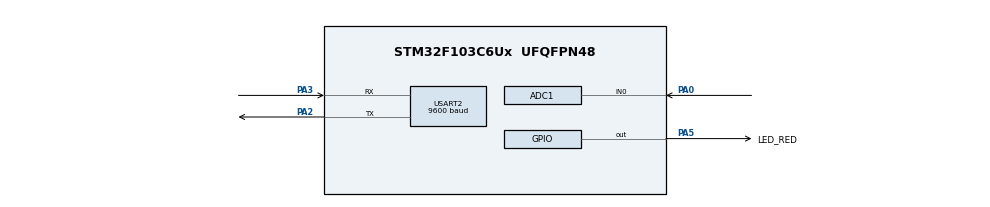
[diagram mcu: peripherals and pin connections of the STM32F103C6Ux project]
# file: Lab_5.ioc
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ADC1.Channel-0\#ChannelRegularConversion=ADC_CHANNEL_0
ADC1.ContinuousConvMode=ENABLE
ADC1.NbrOfConversionFlag=1
ADC1.Rank-0\#ChannelRegularConversion=1
ADC1.SamplingTime-0\#ChannelRegularConversion=ADC_SAMPLETIME_1CYCLE_5
ADC1.master=1
Mcu.Family=STM32F1
Mcu.Name=STM32F103C6Ux
Mcu.Package=UFQFPN48
NVIC.PriorityGroup=NVIC_PRIORITYGROUP_4
NVIC.TIM2_IRQn=true\:0\:0\:false\:false\:true\:true\:true
NVIC.USART2_IRQn=true\:0\:0\:false\:false\:true\:true\:true
PA0-WKUP.Signal=ADCx_IN0
PA2.Mode=Asynchronous
PA2.Signal=USART2_TX
PA3.Mode=Asynchronous
PA3.Signal=USART2_RX
PA5.GPIO_Label=LED_RED
PA5.Signal=GPIO_Output
ProjectManager.HeapSize=0x200
ProjectManager.StackSize=0x400
ProjectManager.TargetToolchain=STM32CubeIDE
RCC.APB1Freq_Value=8000000
RCC.APB2Freq_Value=8000000
SH.ADCx_IN0.0=ADC1_IN0,IN0
TIM2.Period=9
TIM2.Prescaler=7999
USART2.BaudRate=9600
USART2.VirtualMode=VM_ASYNC
VP_SYS_VS_ND.Mode=No_Debug
VP_TIM2_VS_ClockSourceINT.Mode=Internal
board=custom

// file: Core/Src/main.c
/* USER CODE BEGIN Header */
/**
  ******************************************************************************
  * @file           : main.c
  * @brief          : Main program body
  ******************************************************************************
  * @attention
  *
  * <h2><center>&copy; Copyright (c) 2022 STMicroelectronics.
  * All rights reserved.</center></h2>
  *
  * This software component is licensed by ST under BSD 3-Clause license,
  * the "License"; You may not use this file except in compliance with the
  * License. You may obtain a copy of the License at:
  *                        opensource.org/licenses/BSD-3-Clause
  *
  ******************************************************************************
  */
/* USER CODE END Header */
#include "main.h"
#include "stdint.h"
#include "stdio.h"

ADC_HandleTypeDef hadc1;

TIM_HandleTypeDef htim2;

UART_HandleTypeDef huart2;

void SystemClock_Config(void);
static void MX_GPIO_Init(void);
static void MX_ADC1_Init(void);
static void MX_TIM2_Init(void);
static void MX_USART2_UART_Init(void);

/* USER CODE BEGIN 0 */
#define MAX_BUFFER_SIZE  30
uint8_t temp = 0;
uint8_t buffer[MAX_BUFFER_SIZE];
uint8_t index_buffer = 0;
uint8_t buffer_flag = 0;

void HAL_UART_RxCpltCallback(UART_HandleTypeDef *huart) {
	if(huart->Instance == USART2){
		HAL_UART_Transmit(&huart2, &temp, 1, 50);
		HAL_UART_Receive_IT(&huart2, &temp, 1);
	}
}
/* USER CODE END 0 */

int main(void)
{

  /* MCU Configuration--------------------------------------------------------*/

  /* Reset of all peripherals, Initializes the Flash interface and the Systick. */
  HAL_Init();

  /* Configure the system clock */
  SystemClock_Config();

  /* Initialize all configured peripherals */
  MX_GPIO_Init();
  MX_ADC1_Init();
  MX_TIM2_Init();
  MX_USART2_UART_Init();
  /* USER CODE BEGIN 2 */
  HAL_TIM_Base_Start_IT(&htim2);
  HAL_UART_Receive_IT(&huart2, &temp, 1);
  /* USER CODE END 2 */

  /* Infinite loop */
  /* USER CODE BEGIN WHILE */
  uint32_t ADC_value = 0;
  char str[50];
  while (1)
  {
	  HAL_GPIO_TogglePin(LED_RED_GPIO_Port, LED_RED_Pin);
	  ADC_value = HAL_ADC_GetValue(&hadc1);
	  HAL_UART_Transmit(&huart2, (void *)str, sprintf(str, "%ld\n", ADC_value), 1000);
	  HAL_Delay(500);
    /* USER CODE END WHILE */

  }
}

void SystemClock_Config(void)
{
  RCC_OscInitTypeDef RCC_OscInitStruct = {0};
  RCC_ClkInitTypeDef RCC_ClkInitStruct = {0};
  RCC_PeriphCLKInitTypeDef PeriphClkInit = {0};

  /** Initializes the RCC Oscillators according to the specified parameters
  * in the RCC_OscInitTypeDef structure.
  */
  RCC_OscInitStruct.OscillatorType = RCC_OSCILLATORTYPE_HSI;
  RCC_OscInitStruct.HSIState = RCC_HSI_ON;
  RCC_OscInitStruct.HSICalibrationValue = RCC_HSICALIBRATION_DEFAULT;
  RCC_OscInitStruct.PLL.PLLState = RCC_PLL_NONE;
  if (HAL_RCC_OscConfig(&RCC_OscInitStruct) != HAL_OK)
  {
    Error_Handler();
  }
  /** Initializes the CPU, AHB and APB buses clocks
  */
  RCC_ClkInitStruct.ClockType = RCC_CLOCKTYPE_HCLK|RCC_CLOCKTYPE_SYSCLK
                              |RCC_CLOCKTYPE_PCLK1|RCC_CLOCKTYPE_PCLK2;
  RCC_ClkInitStruct.SYSCLKSource = RCC_SYSCLKSOURCE_HSI;
  RCC_ClkInitStruct.AHBCLKDivider = RCC_SYSCLK_DIV1;
  RCC_ClkInitStruct.APB1CLKDivider = RCC_HCLK_DIV1;
  RCC_ClkInitStruct.APB2CLKDivider = RCC_HCLK_DIV1;

  if (HAL_RCC_ClockConfig(&RCC_ClkInitStruct, FLASH_LATENCY_0) != HAL_OK)
  {
    Error_Handler();
  }
  PeriphClkInit.PeriphClockSelection = RCC_PERIPHCLK_ADC;
  PeriphClkInit.AdcClockSelection = RCC_ADCPCLK2_DIV2;
  if (HAL_RCCEx_PeriphCLKConfig(&PeriphClkInit) != HAL_OK)
  {
    Error_Handler();
  }
}

static void MX_ADC1_Init(void)
{

  ADC_ChannelConfTypeDef sConfig = {0};

  /** Common config
  */
  hadc1.Instance = ADC1;
  hadc1.Init.ScanConvMode = ADC_SCAN_DISABLE;
  hadc1.Init.ContinuousConvMode = ENABLE;
  hadc1.Init.DiscontinuousConvMode = DISABLE;
  hadc1.Init.ExternalTrigConv = ADC_SOFTWARE_START;
  hadc1.Init.DataAlign = ADC_DATAALIGN_RIGHT;
  hadc1.Init.NbrOfConversion = 1;
  if (HAL_ADC_Init(&hadc1) != HAL_OK)
  {
    Error_Handler();
  }
  /** Configure Regular Channel
  */
  sConfig.Channel = ADC_CHANNEL_0;
  sConfig.Rank = ADC_REGULAR_RANK_1;
  sConfig.SamplingTime = ADC_SAMPLETIME_1CYCLE_5;
  if (HAL_ADC_ConfigChannel(&hadc1, &sConfig) != HAL_OK)
  {
    Error_Handler();
  }

}

static void MX_TIM2_Init(void)
{

  TIM_ClockConfigTypeDef sClockSourceConfig = {0};
  TIM_MasterConfigTypeDef sMasterConfig = {0};

  htim2.Instance = TIM2;
  htim2.Init.Prescaler = 7999;
  htim2.Init.CounterMode = TIM_COUNTERMODE_UP;
  htim2.Init.Period = 9;
  htim2.Init.ClockDivision = TIM_CLOCKDIVISION_DIV1;
  htim2.Init.AutoReloadPreload = TIM_AUTORELOAD_PRELOAD_DISABLE;
  if (HAL_TIM_Base_Init(&htim2) != HAL_OK)
  {
    Error_Handler();
  }
  sClockSourceConfig.ClockSource = TIM_CLOCKSOURCE_INTERNAL;
  if (HAL_TIM_ConfigClockSource(&htim2, &sClockSourceConfig) != HAL_OK)
  {
    Error_Handler();
  }
  sMasterConfig.MasterOutputTrigger = TIM_TRGO_RESET;
  sMasterConfig.MasterSlaveMode = TIM_MASTERSLAVEMODE_DISABLE;
  if (HAL_TIMEx_MasterConfigSynchronization(&htim2, &sMasterConfig) != HAL_OK)
  {
    Error_Handler();
  }

}

static void MX_USART2_UART_Init(void)
{

  huart2.Instance = USART2;
  huart2.Init.BaudRate = 9600;
  huart2.Init.WordLength = UART_WORDLENGTH_8B;
  huart2.Init.StopBits = UART_STOPBITS_1;
  huart2.Init.Parity = UART_PARITY_NONE;
  huart2.Init.Mode = UART_MODE_TX_RX;
  huart2.Init.HwFlowCtl = UART_HWCONTROL_NONE;
  huart2.Init.OverSampling = UART_OVERSAMPLING_16;
  if (HAL_UART_Init(&huart2) != HAL_OK)
  {
    Error_Handler();
  }

}

static void MX_GPIO_Init(void)
{
  GPIO_InitTypeDef GPIO_InitStruct = {0};

  /* GPIO Ports Clock Enable */
  __HAL_RCC_GPIOA_CLK_ENABLE();

  /*Configure GPIO pin Output Level */
  HAL_GPIO_WritePin(LED_RED_GPIO_Port, LED_RED_Pin, GPIO_PIN_RESET);

  /*Configure GPIO pin : LED_RED_Pin */
  GPIO_InitStruct.Pin = LED_RED_Pin;
  GPIO_InitStruct.Mode = GPIO_MODE_OUTPUT_PP;
  GPIO_InitStruct.Pull = GPIO_NOPULL;
  GPIO_InitStruct.Speed = GPIO_SPEED_FREQ_LOW;
  HAL_GPIO_Init(LED_RED_GPIO_Port, &GPIO_InitStruct);

}

/* USER CODE BEGIN 4 */
void HAL_TIM_PeriodElapsedCallback(TIM_HandleTypeDef *htim) {

}
/* USER CODE END 4 */

void Error_Handler(void)
{
  __disable_irq();
  while (1)
  {
  }
}

/************************ (C) COPYRIGHT STMicroelectronics *****END OF FILE****/
